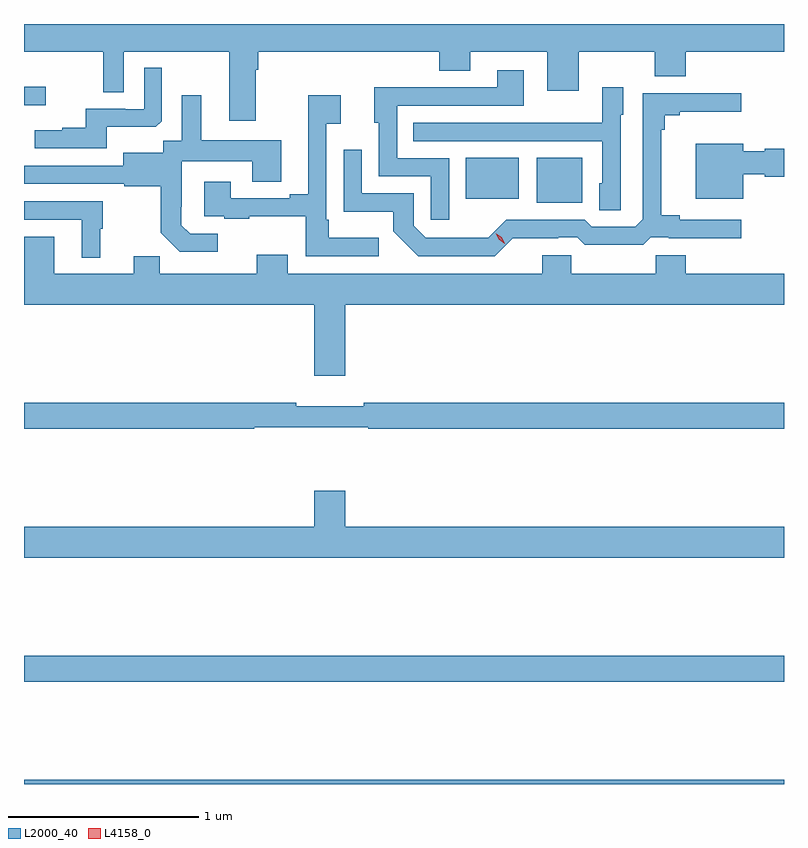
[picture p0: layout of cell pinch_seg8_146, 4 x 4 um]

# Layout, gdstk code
import gdstk
lib = gdstk.Library(unit=1e-6, precision=1e-09)
def R(c, l, rs):  # rectangles x0, y0, x1, y1
    for r in rs: c.add(gdstk.rectangle(r[:2], r[2:], *l))
def P(c, l, *ps):  # polygons
    for p in ps: c.add(gdstk.Polygon(p, *l))
L2000_40 = (2000, 40)
L4158_0 = (4158, 0)

pinch_seg8_146 = lib.new_cell('pinch_seg8_146')
R(pinch_seg8_146, L2000_40, [(798.844,1121.97,802.844,1121.992), (798.844,1122.508,802.844,1122.644), (801.542,1125.029,801.781,1125.265), (801.17,1125.05,801.448,1125.265), (798.844,1125.542,798.958,1125.641)])
P(pinch_seg8_146, L2000_40, [(800.065,1125.728),(800.078,1125.728),(800.078,1125.824),(801.029,1125.824),(801.029,1125.725),(801.193,1125.725),(801.193,1125.824),(801.599,1125.824),(801.599,1125.618),(801.763,1125.618),(801.763,1125.824),(802.163,1125.824),(802.163,1125.696),(802.327,1125.696),(802.327,1125.824),(802.844,1125.824),(802.844,1125.97),(798.844,1125.97),(798.844,1125.824),(799.26,1125.824),(799.26,1125.61),(799.368,1125.61),(799.368,1125.824),(799.925,1125.824),(799.925,1125.462),(800.065,1125.462)],
  [(799.279,1125.428),(799.537,1125.428),(799.569,1125.459),(799.569,1125.739),(799.476,1125.739),(799.476,1125.522),(799.376,1125.522),(799.376,1125.525),(799.169,1125.525),(799.169,1125.424),(799.045,1125.424),(799.045,1125.412),(798.901,1125.412),(798.901,1125.315),(799.279,1125.315)],
  [(801.081,1125.264),(800.808,1125.264),(800.808,1125.54),(801.475,1125.54),(801.475,1125.727),(801.335,1125.727),(801.335,1125.636),(800.905,1125.636),(800.905,1125.638),(800.687,1125.638),(800.687,1125.45),(800.712,1125.45),(800.712,1125.168),(800.985,1125.168),(800.985,1124.94),(801.081,1124.94)],
  [(801.984,1125.492),(801.997,1125.492),(801.997,1125.637),(801.888,1125.637),(801.888,1125.451),(801.571,1125.451),(801.571,1125.45),(800.893,1125.45),(800.893,1125.354),(801.888,1125.354),(801.888,1125.132),(801.872,1125.132),(801.872,1124.989),(801.984,1124.989)],
  [(801.416,1124.843),(801.656,1124.843),(801.656,1124.847),(801.756,1124.847),(801.796,1124.808),(802.103,1124.808),(802.143,1124.847),(802.237,1124.847),(802.237,1124.843),(802.618,1124.843),(802.618,1124.94),(802.294,1124.94),(802.294,1124.963),(802.199,1124.963),(802.199,1125.413),(802.217,1125.413),(802.217,1125.49),(802.294,1125.49),(802.294,1125.509),(802.618,1125.509),(802.618,1125.606),(802.101,1125.606),(802.101,1124.943),(802.062,1124.904),(801.831,1124.904),(801.795,1124.94),(801.381,1124.94),(801.287,1124.846),(801.182,1124.846),(801.182,1124.844),(800.958,1124.844),(800.895,1124.907),(800.895,1125.078),(800.622,1125.078),(800.622,1125.307),(800.526,1125.307),(800.526,1124.981),(800.788,1124.981),(800.788,1124.879),(800.918,1124.748),(801.321,1124.748)],
  [(799.864,1124.865),(799.719,1124.865),(799.672,1124.912),(799.672,1125.007),(799.674,1125.007),(799.674,1125.248),(800.045,1125.248),(800.045,1125.139),(800.197,1125.139),(800.197,1125.358),(799.777,1125.358),(799.777,1125.595),(799.673,1125.595),(799.673,1125.356),(799.578,1125.356),(799.578,1125.292),(799.367,1125.292),(799.367,1125.225),(798.844,1125.225),(798.844,1125.129),(799.371,1125.129),(799.371,1125.117),(799.563,1125.117),(799.563,1124.871),(799.663,1124.771),(799.864,1124.771)],
  [(800.71,1124.845),(800.449,1124.845),(800.449,1124.941),(800.436,1124.941),(800.436,1125.446),(800.512,1125.446),(800.512,1125.595),(800.339,1125.595),(800.339,1125.073),(800.243,1125.073),(800.243,1125.054),(799.933,1125.054),(799.933,1125.139),(799.793,1125.139),(799.793,1124.958),(799.897,1124.958),(799.897,1124.946),(800.029,1124.946),(800.029,1124.957),(800.328,1124.957),(800.328,1124.748),(800.71,1124.748)],
  [(802.63,1125.179),(802.743,1125.179),(802.743,1125.167),(802.844,1125.167),(802.844,1125.314),(802.743,1125.314),(802.743,1125.301),(802.63,1125.301),(802.63,1125.34),(802.379,1125.34),(802.379,1125.05),(802.63,1125.05)],
  [(799.246,1124.892),(799.258,1124.892),(799.258,1125.036),(798.844,1125.036),(798.844,1124.94),(799.148,1124.94),(799.148,1124.741),(799.246,1124.741)],
  [(800.069,1124.755),(800.069,1124.656),(799.559,1124.656),(799.559,1124.747),(799.421,1124.747),(799.421,1124.656),(799.003,1124.656),(799.003,1124.851),(798.844,1124.851),(798.844,1124.492),(800.372,1124.492),(800.372,1124.118),(800.536,1124.118),(800.536,1124.492),(802.844,1124.492),(802.844,1124.656),(802.328,1124.656),(802.328,1124.754),(802.168,1124.754),(802.168,1124.656),(801.723,1124.656),(801.723,1124.754),(801.572,1124.754),(801.572,1124.656),(800.233,1124.656),(800.233,1124.755)],
  [(800.055,1123.848),(800.655,1123.848),(800.655,1123.84),(802.844,1123.84),(802.844,1123.976),(800.632,1123.976),(800.632,1123.957),(800.276,1123.957),(800.276,1123.976),(798.844,1123.976),(798.844,1123.84),(800.055,1123.84)],
  [(802.844,1123.324),(800.536,1123.324),(800.536,1123.513),(800.372,1123.513),(800.372,1123.324),(798.844,1123.324),(798.844,1123.16),(802.844,1123.16)])
P(pinch_seg8_146, L4158_0, [(801.374,1124.814),(801.343,1124.836),(801.327,1124.869),(801.327,1124.87),(801.327,1124.87),(801.358,1124.848),(801.374,1124.815),(801.374,1124.814)])

lib.write_gds('pinch_seg8_146.gds')
